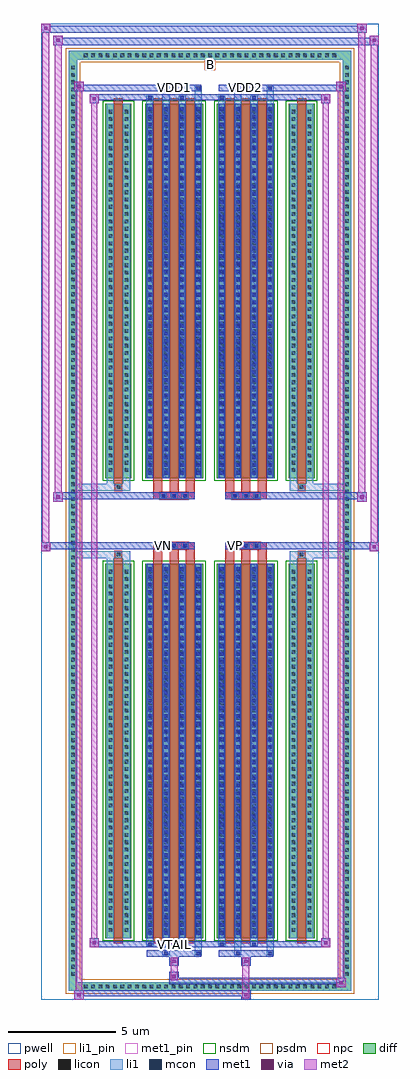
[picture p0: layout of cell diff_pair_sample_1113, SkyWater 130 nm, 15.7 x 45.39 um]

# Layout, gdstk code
import gdstk
lib = gdstk.Library(unit=1e-6, precision=5e-09)
def R(c, l, rs):  # rectangles x0, y0, x1, y1
    for r in rs: c.add(gdstk.rectangle(r[:2], r[2:], *l))
def A(c, l, x, y, w, h, nx, ny, dx, dy):  # array of equal rectangles
    R(c, l, [(x+i*dx, y+j*dy, x+i*dx+w, y+j*dy+h) for i in range(nx) for j in range(ny)])
def P(c, l, *ps):  # polygons
    for p in ps: c.add(gdstk.Polygon(p, *l))
pwell = (64, 44)
diff = (65, 20)
poly = (66, 20)
licon = (66, 44)
li1_pin = (67, 16)
li1 = (67, 20)
mcon = (67, 44)
met1_pin = (68, 16)
met1 = (68, 20)
via = (68, 44)
met2 = (69, 20)
nsdm = (93, 44)
psdm = (94, 20)
npc = (95, 20)

diff_pair_sample_1113 = lib.new_cell('diff_pair_sample_1113')
R(diff_pair_sample_1113, pwell, [(-7.85,-22.26,7.85,23.13), (-5.17,-20.45,-0.01,-0.795), (0.01,-20.45,5.17,-0.795), (-5.17,0.795,-0.01,20.45), (0.01,0.795,5.17,20.45)])
A(diff_pair_sample_1113, diff, -5.985, -21.86, 0.41, 0.41, 35, 2, 0.34, 43.31)
A(diff_pair_sample_1113, diff, -6.58, -21.285, 0.41, 0.41, 1, 125, 0, 0.34)
A(diff_pair_sample_1113, diff, 6.17, -21.285, 0.41, 0.41, 1, 125, 0, 0.34)
R(diff_pair_sample_1113, diff, [(-5.985,-21.86,5.985,-21.45), (-6.58,-21.285,-6.17,21.285), (6.17,-21.285,6.58,21.285), (-4.86,-19.405,-3.66,-1.985), (-3.02,-19.405,-0.32,-1.985), (0.32,-19.405,3.02,-1.985), (3.66,-19.405,4.86,-1.985), (-4.86,1.985,-3.66,19.405), (-3.02,1.985,-0.32,19.405), (0.32,1.985,3.02,19.405), (3.66,1.985,4.86,19.405), (-5.985,21.45,5.985,21.86)])
P(diff_pair_sample_1113, diff, [(6.58,21.86),(-6.58,21.86),(-6.58,-21.45),(-6.17,-21.45),(-6.17,21.45),(6.17,21.45),(6.17,-21.45),(-6.17,-21.45),(-6.58,-21.45),(-6.58,-21.86),(6.58,-21.86)])
A(diff_pair_sample_1113, poly, -2.63, -19.655, 0.42, 17.92, 3, 2, 0.75, 21.39)
A(diff_pair_sample_1113, poly, 0.71, -19.655, 0.42, 17.92, 3, 2, 0.75, 21.39)
A(diff_pair_sample_1113, poly, -2.63, -1.735, 0.42, 0.41, 3, 2, 0.75, 3.06)
A(diff_pair_sample_1113, poly, 0.71, -1.735, 0.42, 0.41, 3, 2, 0.75, 3.06)
A(diff_pair_sample_1113, poly, -2.335, -1.325, 0.33, 0.33, 3, 2, 0.5, 2.32)
A(diff_pair_sample_1113, poly, 1.005, -1.325, 0.33, 0.33, 3, 2, 0.5, 2.32)
R(diff_pair_sample_1113, poly, [(-4.47,-19.655,-4.05,-1.735), (4.05,-19.655,4.47,-1.735), (-4.425,-1.735,-4.095,-1.405), (-4.425,-1.735,-4.095,-1.405), (4.095,-1.735,4.425,-1.405), (4.095,-1.735,4.425,-1.405), (-2.63,-1.325,-0.71,-0.995), (0.71,-1.325,2.63,-0.995), (-2.63,0.995,-0.71,1.325), (0.71,0.995,2.63,1.325), (-4.425,1.405,-4.095,1.735), (-4.425,1.405,-4.095,1.735), (4.095,1.405,4.425,1.735), (4.095,1.405,4.425,1.735), (-4.47,1.735,-4.05,19.655), (4.05,1.735,4.47,19.655)])
A(diff_pair_sample_1113, licon, -5.865, -21.74, 0.17, 0.17, 35, 2, 0.34, 43.31)
A(diff_pair_sample_1113, licon, -6.46, -21.165, 0.17, 0.17, 1, 125, 0, 0.34)
A(diff_pair_sample_1113, licon, 6.29, -21.165, 0.17, 0.17, 1, 125, 0, 0.34)
A(diff_pair_sample_1113, licon, -4.72, -19.11, 0.17, 0.17, 1, 50, 0, 0.34)
A(diff_pair_sample_1113, licon, -3.97, -19.11, 0.17, 0.17, 1, 50, 0, 0.34)
A(diff_pair_sample_1113, licon, -2.88, -19.11, 0.17, 0.17, 4, 50, 0.75, 0.34)
A(diff_pair_sample_1113, licon, 0.46, -19.11, 0.17, 0.17, 4, 50, 0.75, 0.34)
A(diff_pair_sample_1113, licon, 3.8, -19.11, 0.17, 0.17, 1, 50, 0, 0.34)
A(diff_pair_sample_1113, licon, 4.55, -19.11, 0.17, 0.17, 1, 50, 0, 0.34)
A(diff_pair_sample_1113, licon, -2.255, -1.245, 0.17, 0.17, 3, 2, 0.5, 2.32)
A(diff_pair_sample_1113, licon, 1.085, -1.245, 0.17, 0.17, 3, 2, 0.5, 2.32)
A(diff_pair_sample_1113, licon, -4.72, 2.28, 0.17, 0.17, 1, 50, 0, 0.34)
A(diff_pair_sample_1113, licon, -3.97, 2.28, 0.17, 0.17, 1, 50, 0, 0.34)
A(diff_pair_sample_1113, licon, -2.88, 2.28, 0.17, 0.17, 4, 50, 0.75, 0.34)
A(diff_pair_sample_1113, licon, 0.46, 2.28, 0.17, 0.17, 4, 50, 0.75, 0.34)
A(diff_pair_sample_1113, licon, 3.8, 2.28, 0.17, 0.17, 1, 50, 0, 0.34)
A(diff_pair_sample_1113, licon, 4.55, 2.28, 0.17, 0.17, 1, 50, 0, 0.34)
R(diff_pair_sample_1113, licon, [(-4.345,-1.655,-4.175,-1.485), (4.175,-1.655,4.345,-1.485), (-4.345,1.485,-4.175,1.655), (4.175,1.485,4.345,1.655)])
R(diff_pair_sample_1113, li1_pin, [(-0.25,20.95,0.25,21.45)])
A(diff_pair_sample_1113, li1, -5.945, -21.82, 0.33, 0.33, 35, 2, 0.34, 43.31)
A(diff_pair_sample_1113, li1, -6.54, -21.245, 0.33, 0.33, 1, 125, 0, 0.34)
A(diff_pair_sample_1113, li1, 6.21, -21.245, 0.33, 0.33, 1, 125, 0, 0.34)
A(diff_pair_sample_1113, li1, -2.96, -19.405, 0.33, 17.42, 4, 2, 0.75, 21.39)
A(diff_pair_sample_1113, li1, 0.38, -19.405, 0.33, 17.42, 4, 2, 0.75, 21.39)
A(diff_pair_sample_1113, li1, -2.88, -19.24, 0.17, 0.17, 4, 48, 0.75, 0.36)
A(diff_pair_sample_1113, li1, -2.88, -19.24, 0.17, 17.09, 4, 2, 0.75, 21.39)
A(diff_pair_sample_1113, li1, 0.46, -19.24, 0.17, 0.17, 4, 48, 0.75, 0.36)
A(diff_pair_sample_1113, li1, 0.46, -19.24, 0.17, 17.09, 4, 2, 0.75, 21.39)
A(diff_pair_sample_1113, li1, -4.8, -19.19, 0.33, 0.33, 1, 50, 0, 0.34)
A(diff_pair_sample_1113, li1, -4.05, -19.19, 0.33, 0.33, 1, 50, 0, 0.34)
A(diff_pair_sample_1113, li1, -2.96, -19.19, 0.33, 0.33, 4, 50, 0.75, 0.34)
A(diff_pair_sample_1113, li1, 0.38, -19.19, 0.33, 0.33, 4, 50, 0.75, 0.34)
A(diff_pair_sample_1113, li1, 3.72, -19.19, 0.33, 0.33, 1, 50, 0, 0.34)
A(diff_pair_sample_1113, li1, 4.47, -19.19, 0.33, 0.33, 1, 50, 0, 0.34)
A(diff_pair_sample_1113, li1, -2.335, -1.325, 0.33, 0.33, 3, 2, 0.5, 2.32)
A(diff_pair_sample_1113, li1, 1.005, -1.325, 0.33, 0.33, 3, 2, 0.5, 2.32)
A(diff_pair_sample_1113, li1, -2.88, 2.15, 0.17, 0.17, 4, 48, 0.75, 0.36)
A(diff_pair_sample_1113, li1, 0.46, 2.15, 0.17, 0.17, 4, 48, 0.75, 0.36)
A(diff_pair_sample_1113, li1, -4.8, 2.2, 0.33, 0.33, 1, 50, 0, 0.34)
A(diff_pair_sample_1113, li1, -4.05, 2.2, 0.33, 0.33, 1, 50, 0, 0.34)
A(diff_pair_sample_1113, li1, -2.96, 2.2, 0.33, 0.33, 4, 50, 0.75, 0.34)
A(diff_pair_sample_1113, li1, 0.38, 2.2, 0.33, 0.33, 4, 50, 0.75, 0.34)
A(diff_pair_sample_1113, li1, 3.72, 2.2, 0.33, 0.33, 1, 50, 0, 0.34)
A(diff_pair_sample_1113, li1, 4.47, 2.2, 0.33, 0.33, 1, 50, 0, 0.34)
R(diff_pair_sample_1113, li1, [(-6.58,-21.86,-6.17,-21.45), (-6.58,-21.86,-6.17,-21.45), (-6.17,-21.86,6.17,-21.45), (6.17,-21.86,6.58,-21.45), (6.17,-21.86,6.58,-21.45), (-6.58,-21.45,-6.17,21.45), (6.17,-21.45,6.58,21.45), (-2.21,-20.21,-1.88,-19.405), (-2.13,-20.21,-1.96,-20.04), (-0.71,-20.21,-0.38,-19.405), (-0.63,-20.21,-0.46,-20.04), (1.13,-20.21,1.46,-19.405), (1.21,-20.21,1.38,-20.04), (2.63,-20.21,2.96,-19.405), (2.71,-20.21,2.88,-20.04), (-2.96,-19.78,-2.63,-19.405), (-2.88,-19.78,-2.71,-19.61), (-1.46,-19.78,-1.13,-19.405), (-1.38,-19.78,-1.21,-19.61), (0.38,-19.78,0.71,-19.405), (0.46,-19.78,0.63,-19.61), (1.88,-19.78,2.21,-19.405), (1.96,-19.78,2.13,-19.61), (-4.8,-19.405,-4.47,-1.985), (-4.05,-19.405,-3.72,-1.985), (3.72,-19.405,4.05,-1.985), (4.47,-19.405,4.8,-1.985), (-4.8,-1.985,-4.47,-1.405), (-4.05,-1.985,-3.72,-1.405), (3.72,-1.985,4.05,-1.405), (4.47,-1.985,4.8,-1.405), (-6.58,-1.735,-4.425,-1.405), (-4.8,-1.735,-4.425,-1.405), (-4.425,-1.735,-4.095,-1.405), (-4.095,-1.735,-3.72,-1.405), (3.72,-1.735,4.095,-1.405), (4.095,-1.735,4.425,-1.405), (4.095,-1.735,6.58,-1.405), (4.425,-1.735,4.8,-1.405), (-6.58,1.405,-4.425,1.735), (-4.8,1.405,-4.425,1.735), (-4.8,1.405,-4.47,1.985), (-4.425,1.405,-4.095,1.735), (-4.095,1.405,-3.72,1.735), (-4.05,1.405,-3.72,1.985), (3.72,1.405,4.095,1.735), (3.72,1.405,4.05,1.985), (4.095,1.405,4.425,1.735), (4.095,1.405,6.58,1.735), (4.425,1.405,4.8,1.735), (4.47,1.405,4.8,1.985), (-4.8,1.985,-4.47,19.405), (-4.05,1.985,-3.72,19.405), (3.72,1.985,4.05,19.405), (4.47,1.985,4.8,19.405), (-2.96,19.405,-2.63,19.78), (-2.21,19.405,-1.88,20.21), (-1.46,19.405,-1.13,19.78), (-0.71,19.405,-0.38,20.21), (0.38,19.405,0.71,19.78), (1.13,19.405,1.46,20.21), (1.88,19.405,2.21,19.78), (2.63,19.405,2.96,20.21), (-2.88,19.61,-2.71,19.78), (-1.38,19.61,-1.21,19.78), (0.46,19.61,0.63,19.78), (1.96,19.61,2.13,19.78), (-2.13,20.04,-1.96,20.21), (-0.63,20.04,-0.46,20.21), (1.21,20.04,1.38,20.21), (2.71,20.04,2.88,20.21), (-6.58,21.45,-6.17,21.86), (-6.58,21.45,-6.17,21.86), (-6.17,21.45,6.17,21.86), (6.17,21.45,6.58,21.86), (6.17,21.45,6.58,21.86)])
A(diff_pair_sample_1113, mcon, -2.88, -19.24, 0.17, 0.17, 4, 48, 0.75, 0.36)
A(diff_pair_sample_1113, mcon, 0.46, -19.24, 0.17, 0.17, 4, 48, 0.75, 0.36)
A(diff_pair_sample_1113, mcon, -2.255, -1.245, 0.17, 0.17, 3, 2, 0.5, 2.32)
A(diff_pair_sample_1113, mcon, 1.085, -1.245, 0.17, 0.17, 3, 2, 0.5, 2.32)
A(diff_pair_sample_1113, mcon, -2.88, 2.15, 0.17, 0.17, 4, 48, 0.75, 0.36)
A(diff_pair_sample_1113, mcon, 0.46, 2.15, 0.17, 0.17, 4, 48, 0.75, 0.36)
R(diff_pair_sample_1113, mcon, [(-2.13,-20.21,-1.96,-20.04), (-0.63,-20.21,-0.46,-20.04), (1.21,-20.21,1.38,-20.04), (2.71,-20.21,2.88,-20.04), (-2.88,-19.78,-2.71,-19.61), (-1.38,-19.78,-1.21,-19.61), (0.46,-19.78,0.63,-19.61), (1.96,-19.78,2.13,-19.61), (-2.88,19.61,-2.71,19.78), (-1.38,19.61,-1.21,19.78), (0.46,19.61,0.63,19.78), (1.96,19.61,2.13,19.78), (-2.13,20.04,-1.96,20.21), (-0.63,20.04,-0.46,20.21), (1.21,20.04,1.38,20.21), (2.71,20.04,2.88,20.21)])
R(diff_pair_sample_1113, met1_pin, [(-1.805,-19.82,-1.535,-19.55), (-2.305,-1.285,-2.035,-1.015), (1.035,-1.285,1.305,-1.015), (-1.805,20,-1.535,20.27), (1.535,20,1.805,20.27)])
A(diff_pair_sample_1113, met1, -2.94, -19.405, 0.29, 17.42, 4, 2, 0.75, 21.39)
A(diff_pair_sample_1113, met1, 0.4, -19.405, 0.29, 17.42, 4, 2, 0.75, 21.39)
A(diff_pair_sample_1113, met1, -2.94, -19.3, 0.29, 0.29, 4, 48, 0.75, 0.36)
A(diff_pair_sample_1113, met1, 0.4, -19.3, 0.29, 0.29, 4, 48, 0.75, 0.36)
A(diff_pair_sample_1113, met1, -2.315, -1.305, 0.29, 0.29, 3, 2, 0.5, 2.32)
A(diff_pair_sample_1113, met1, 1.025, -1.305, 0.29, 0.29, 3, 2, 0.5, 2.32)
A(diff_pair_sample_1113, met1, -2.94, 2.09, 0.29, 0.29, 4, 48, 0.75, 0.36)
A(diff_pair_sample_1113, met1, 0.4, 2.09, 0.29, 0.29, 4, 48, 0.75, 0.36)
R(diff_pair_sample_1113, met1, [(-6.31,-22.26,-5.88,-21.83), (1.455,-22.26,1.885,-21.83), (-6.31,-22.12,1.885,-21.83), (5.88,-21.69,6.31,-21.26), (-1.885,-21.55,6.31,-21.26), (-1.885,-21.41,-1.455,-20.98), (-1.885,-20.7,-1.455,-20.27), (1.455,-20.7,1.885,-20.27), (-2.94,-20.27,-0.4,-19.98), (-2.19,-20.27,-1.9,-19.98), (-0.69,-20.27,-0.4,-19.98), (0.4,-20.27,2.94,-19.98), (1.15,-20.27,1.44,-19.98), (2.65,-20.27,2.94,-19.98), (-5.6,-19.84,-5.17,-19.41), (-5.6,-19.84,-2.94,-19.55), (-2.94,-19.84,-2.65,-19.55), (-2.94,-19.84,-0.4,-19.55), (-1.44,-19.84,-1.15,-19.55), (-0.4,-19.84,0.4,-19.55), (0.4,-19.84,0.69,-19.55), (0.4,-19.84,2.94,-19.55), (1.9,-19.84,2.19,-19.55), (2.94,-19.84,5.6,-19.55), (5.17,-19.84,5.6,-19.41), (-7.85,-1.425,-7.42,-0.995), (7.42,-1.425,7.85,-0.995), (-7.85,-1.325,-0.71,-0.995), (-2.63,-1.325,-0.71,-0.995), (0.71,-1.325,2.63,-0.995), (0.71,-1.325,7.85,-0.995), (-7.28,0.895,-6.85,1.325), (6.85,0.895,7.28,1.325), (-7.28,0.995,-2.63,1.325), (-2.63,0.995,-0.71,1.325), (0.71,0.995,2.63,1.325), (2.63,0.995,7.28,1.325), (-5.6,19.41,-5.17,19.84), (5.17,19.41,5.6,19.84), (-5.6,19.55,-2.94,19.84), (-2.94,19.55,-2.65,19.84), (-2.94,19.55,-0.4,19.84), (-1.44,19.55,-1.15,19.84), (-0.4,19.55,0.4,19.84), (0.4,19.55,0.69,19.84), (0.4,19.55,2.94,19.84), (1.9,19.55,2.19,19.84), (2.94,19.55,5.6,19.84), (-6.31,19.98,-5.88,20.41), (-6.31,19.98,-2.94,20.27), (-2.94,19.98,-0.4,20.27), (-2.19,19.98,-1.9,20.27), (-0.69,19.98,-0.4,20.27), (0.4,19.98,2.94,20.27), (1.15,19.98,1.44,20.27), (2.65,19.98,2.94,20.27), (2.94,19.98,6.31,20.27), (5.88,19.98,6.31,20.41), (-7.28,22.13,-6.85,22.56), (-7.28,22.13,-5.17,22.46), (-5.17,22.13,5.17,22.46), (5.17,22.13,7.85,22.46), (7.42,22.13,7.85,22.56), (-7.85,22.7,-7.42,23.13), (-7.85,22.7,-5.17,23.03), (-5.17,22.7,5.17,23.03), (5.17,22.7,7.28,23.03), (6.85,22.7,7.28,23.13)])
R(diff_pair_sample_1113, via, [(-6.17,-22.12,-6.02,-21.97), (1.595,-22.12,1.745,-21.97), (6.02,-21.55,6.17,-21.4), (-1.745,-21.27,-1.595,-21.12), (-1.745,-20.56,-1.595,-20.41), (1.595,-20.56,1.745,-20.41), (-5.46,-19.7,-5.31,-19.55), (5.31,-19.7,5.46,-19.55), (-7.71,-1.285,-7.56,-1.135), (7.56,-1.285,7.71,-1.135), (-7.14,1.035,-6.99,1.185), (6.99,1.035,7.14,1.185), (-5.46,19.55,-5.31,19.7), (5.31,19.55,5.46,19.7), (-6.17,20.12,-6.02,20.27), (6.02,20.12,6.17,20.27), (-7.14,22.27,-6.99,22.42), (7.56,22.27,7.71,22.42), (-7.71,22.84,-7.56,22.99), (6.99,22.84,7.14,22.99)])
R(diff_pair_sample_1113, met2, [(-6.31,-22.26,-5.88,-21.83), (-6.24,-22.26,-5.95,20.41), (-5.95,-22.26,-5.88,-21.83), (-6.26,-22.21,-5.93,-21.88), (1.505,-22.21,1.835,-21.88), (1.505,-21.88,1.835,-20.65), (5.88,-21.69,6.31,-21.26), (5.95,-21.69,6.24,20.41), (6.24,-21.69,6.31,-21.26), (5.93,-21.64,6.26,-21.31), (-1.835,-21.36,-1.505,-21.03), (-1.835,-21.03,-1.505,-20.65), (-1.835,-20.65,-1.505,-20.32), (1.505,-20.65,1.835,-20.32), (-5.6,-19.84,-5.17,-19.41), (-5.53,-19.84,-5.24,19.84), (-5.24,-19.84,-5.17,-19.41), (5.17,-19.84,5.6,-19.41), (5.24,-19.84,5.53,19.84), (5.53,-19.84,5.6,-19.41), (-5.55,-19.79,-5.22,-19.46), (5.22,-19.79,5.55,-19.46), (-7.85,-1.425,-7.42,-0.995), (-7.8,-1.425,-7.47,23.13), (-7.47,-1.425,-7.42,-0.995), (7.42,-1.425,7.85,-0.995), (7.47,-1.425,7.8,22.56), (7.8,-1.425,7.85,-0.995), (-7.8,-1.375,-7.47,-1.045), (7.47,-1.375,7.8,-1.045), (-7.28,0.895,-6.85,1.325), (-7.23,0.895,-6.9,22.56), (-6.9,0.895,-6.85,1.325), (6.85,0.895,7.28,1.325), (6.9,0.895,7.23,23.13), (7.23,0.895,7.28,1.325), (-7.23,0.945,-6.9,1.275), (6.9,0.945,7.23,1.275), (-5.6,19.41,-5.17,19.84), (-5.24,19.41,-5.17,19.84), (5.17,19.41,5.6,19.84), (5.53,19.41,5.6,19.84), (-5.55,19.46,-5.22,19.79), (5.22,19.46,5.55,19.79), (-6.31,19.98,-5.88,20.41), (-5.95,19.98,-5.88,20.41), (5.88,19.98,6.31,20.41), (6.24,19.98,6.31,20.41), (-6.26,20.03,-5.93,20.36), (5.93,20.03,6.26,20.36), (-7.28,22.13,-6.85,22.56), (-6.9,22.13,-6.85,22.56), (7.42,22.13,7.85,22.56), (7.8,22.13,7.85,22.56), (-7.23,22.18,-6.9,22.51), (7.47,22.18,7.8,22.51), (-7.85,22.7,-7.42,23.13), (-7.47,22.7,-7.42,23.13), (6.85,22.7,7.28,23.13), (7.23,22.7,7.28,23.13), (-7.8,22.75,-7.47,23.08), (6.9,22.75,7.23,23.08)])
R(diff_pair_sample_1113, nsdm, [(-4.99,-19.535,-3.53,-1.855), (-3.15,-19.535,-0.19,-1.855), (0.19,-19.535,3.15,-1.855), (3.53,-19.535,4.99,-1.855), (-4.99,1.855,-3.53,19.535), (-3.15,1.855,-0.19,19.535), (0.19,1.855,3.15,19.535), (3.53,1.855,4.99,19.535)])
P(diff_pair_sample_1113, psdm, [(6.71,21.99),(-6.71,21.99),(-6.71,-21.32),(-6.04,-21.32),(-6.04,21.32),(6.04,21.32),(6.04,-21.32),(-6.04,-21.32),(-6.71,-21.32),(-6.71,-21.99),(6.71,-21.99)])
A(diff_pair_sample_1113, npc, -2.355, -1.345, 0.37, 0.37, 3, 2, 0.5, 2.32)
A(diff_pair_sample_1113, npc, 0.985, -1.345, 0.37, 0.37, 3, 2, 0.5, 2.32)
R(diff_pair_sample_1113, npc, [(-4.445,-1.755,-4.075,-1.385), (4.075,-1.755,4.445,-1.385), (-2.355,-1.345,-1.485,-0.975), (-2.355,-1.345,-1.485,-0.975), (-1.855,-1.345,-0.985,-0.975), (-1.855,-1.345,-0.985,-0.975), (0.985,-1.345,1.855,-0.975), (0.985,-1.345,1.855,-0.975), (1.485,-1.345,2.355,-0.975), (1.485,-1.345,2.355,-0.975), (-2.355,0.975,-1.485,1.345), (-2.355,0.975,-1.485,1.345), (-1.855,0.975,-0.985,1.345), (-1.855,0.975,-0.985,1.345), (0.985,0.975,1.855,1.345), (0.985,0.975,1.855,1.345), (1.485,0.975,2.355,1.345), (1.485,0.975,2.355,1.345), (-4.445,1.385,-4.075,1.755), (4.075,1.385,4.445,1.755)])
diff_pair_sample_1113.add(gdstk.Label('VTAIL', (-1.67,-19.685), layer=68, texttype=5))
diff_pair_sample_1113.add(gdstk.Label('VN', (-2.17,-1.15), layer=68, texttype=5))
diff_pair_sample_1113.add(gdstk.Label('VP', (1.17,-1.15), layer=68, texttype=5))
diff_pair_sample_1113.add(gdstk.Label('B', (0,21.2), layer=67, texttype=5))
diff_pair_sample_1113.add(gdstk.Label('VDD2', (1.67,20.135), layer=68, texttype=5))
diff_pair_sample_1113.add(gdstk.Label('VDD1', (-1.67,20.135), layer=68, texttype=5))

lib.write_gds('diff_pair_sample_1113.gds')
